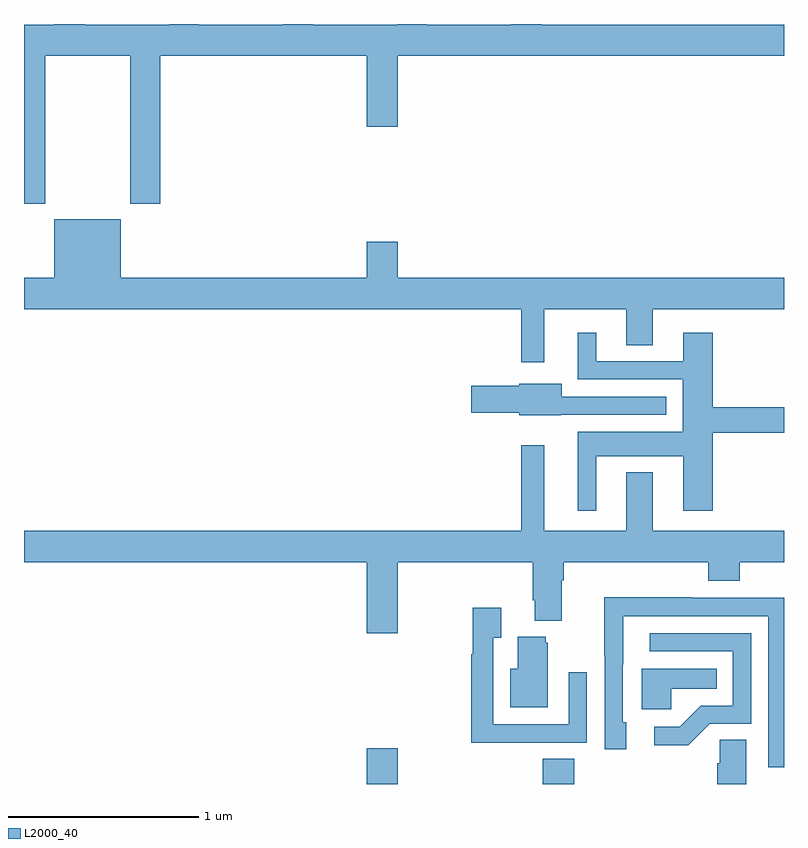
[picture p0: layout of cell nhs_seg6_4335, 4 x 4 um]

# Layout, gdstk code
import gdstk
lib = gdstk.Library(unit=1e-6, precision=1e-09)
def R(c, l, rs):  # rectangles x0, y0, x1, y1
    for r in rs: c.add(gdstk.rectangle(r[:2], r[2:], *l))
def P(c, l, *ps):  # polygons
    for p in ps: c.add(gdstk.Polygon(p, *l))
L2000_40 = (2000, 40)

nhs_seg6_4335 = lib.new_cell('nhs_seg6_4335')
R(nhs_seg6_4335, L2000_40, [(368.804,947.5,368.968,947.689), (369.731,947.5,369.896,947.633)])
P(nhs_seg6_4335, L2000_40, [(367.113,951.332),(367.558,951.332),(367.558,950.553),(367.718,950.553),(367.718,951.332),(368.804,951.332),(368.804,950.958),(368.968,950.958),(368.968,951.332),(371,951.332),(371,951.496),(369.725,951.496),(369.725,951.5),(369.565,951.5),(369.565,951.496),(369.12,951.496),(369.12,951.5),(368.965,951.5),(368.965,951.496),(368.52,951.496),(368.52,951.5),(368.365,951.5),(368.365,951.496),(367.92,951.496),(367.92,951.5),(367.765,951.5),(367.765,951.496),(367.32,951.496),(367.32,951.5),(367.16,951.5),(367.16,951.496),(367,951.496),(367,950.553),(367.113,950.553)],
  [(369.739,950),(370.169,950),(370.169,949.81),(370.309,949.81),(370.309,950),(371,950),(371,950.164),(368.968,950.164),(368.968,950.353),(368.804,950.353),(368.804,950.164),(367.51,950.164),(367.51,950.473),(367.16,950.473),(367.16,950.164),(367,950.164),(367,950),(369.618,950),(369.618,949.719),(369.739,949.719)],
  [(370.012,949.226),(370.469,949.226),(370.469,948.939),(370.625,948.939),(370.625,949.348),(371,949.348),(371,949.484),(370.625,949.484),(370.625,949.876),(370.469,949.876),(370.469,949.725),(370.012,949.725),(370.012,949.876),(369.914,949.876),(369.914,949.629),(370.466,949.629),(370.466,949.354),(369.914,949.354),(369.914,948.939),(370.012,948.939)],
  [(369.825,949.443),(370.381,949.443),(370.381,949.539),(369.829,949.539),(369.829,949.606),(369.606,949.606),(369.606,949.596),(369.354,949.596),(369.354,949.454),(369.606,949.454),(369.606,949.442),(369.825,949.442)],
  [(368.968,948.668),(369.677,948.668),(369.677,948.466),(369.689,948.466),(369.689,948.359),(369.829,948.359),(369.829,948.572),(369.842,948.572),(369.842,948.668),(370.601,948.668),(370.601,948.569),(370.766,948.569),(370.766,948.668),(371,948.668),(371,948.832),(370.309,948.832),(370.309,949.141),(370.169,949.141),(370.169,948.832),(369.739,948.832),(369.739,949.282),(369.618,949.282),(369.618,948.832),(367,948.832),(367,948.668),(368.804,948.668),(368.804,948.294),(368.968,948.294)],
  [(371,948.48),(370.517,948.48),(370.517,948.482),(370.054,948.482),(370.054,948.175),(370.056,948.175),(370.056,947.682),(370.171,947.682),(370.171,947.826),(370.152,947.826),(370.152,948.13),(370.153,948.13),(370.153,948.384),(370.917,948.384),(370.917,947.589),(371,947.589)],
  [(369.647,947.718),(369.963,947.718),(369.963,948.088),(369.867,948.088),(369.867,947.814),(369.471,947.814),(369.471,948.271),(369.511,948.271),(369.511,948.427),(369.363,948.427),(369.363,948.182),(369.355,948.182),(369.355,947.717),(369.647,947.717)],
  [(370.608,947.817),(370.827,947.817),(370.827,948.294),(370.293,948.294),(370.293,948.198),(370.731,948.198),(370.731,947.913),(370.562,947.913),(370.451,947.802),(370.317,947.802),(370.317,947.705),(370.495,947.705)],
  [(369.757,948.243),(369.746,948.243),(369.746,948.274),(369.599,948.274),(369.599,948.106),(369.56,948.106),(369.56,947.903),(369.757,947.903)],
  [(370.407,948.002),(370.646,948.002),(370.646,948.106),(370.25,948.106),(370.25,947.894),(370.407,947.894)],
  [(370.801,947.732),(370.662,947.732),(370.662,947.609),(370.649,947.609),(370.649,947.5),(370.801,947.5)])

lib.write_gds('nhs_seg6_4335.gds')
